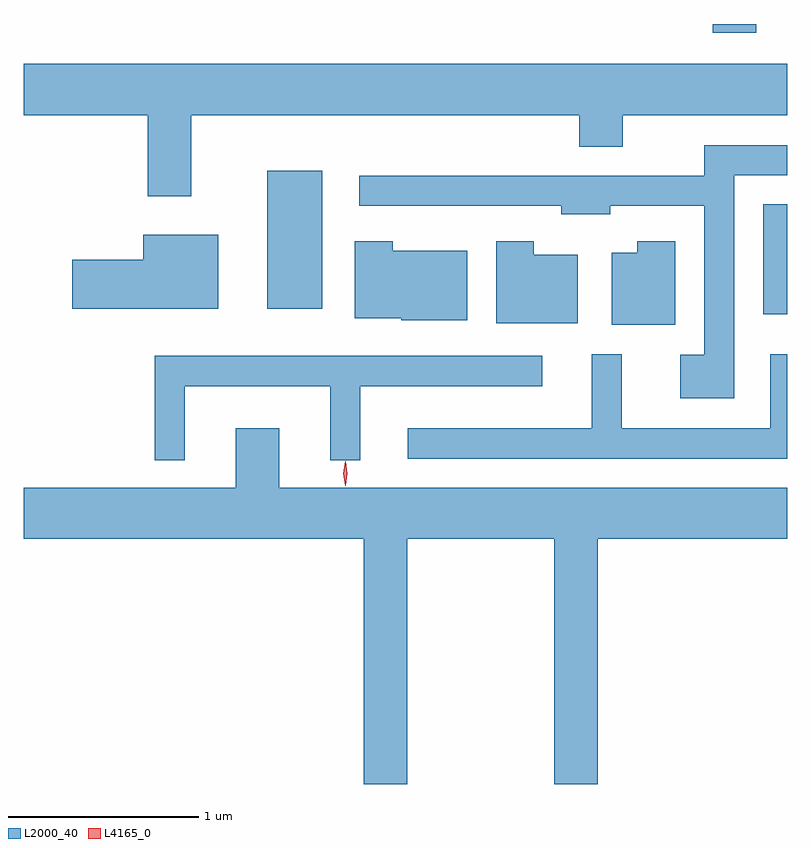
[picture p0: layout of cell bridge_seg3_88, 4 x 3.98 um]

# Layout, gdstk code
import gdstk
lib = gdstk.Library(unit=1e-6, precision=1e-09)
def R(c, l, rs):  # rectangles x0, y0, x1, y1
    for r in rs: c.add(gdstk.rectangle(r[:2], r[2:], *l))
def P(c, l, *ps):  # polygons
    for p in ps: c.add(gdstk.Polygon(p, *l))
L2000_40 = (2000, 40)
L4165_0 = (4165, 0)

bridge_seg3_88 = lib.new_cell('bridge_seg3_88')
R(bridge_seg3_88, L2000_40, [(1122.086,1213.771,1122.211,1214.349), (1119.486,1213.801,1119.774,1214.524), (1121.821,1215.246,1122.049,1215.293)])
P(bridge_seg3_88, L2000_40, [(1119.089,1214.816),(1121.121,1214.816),(1121.121,1214.651),(1121.349,1214.651),(1121.349,1214.816),(1122.211,1214.816),(1122.211,1215.084),(1118.211,1215.084),(1118.211,1214.816),(1118.861,1214.816),(1118.861,1214.391),(1119.089,1214.391)],
  [(1121.934,1214.501),(1122.211,1214.501),(1122.211,1214.659),(1121.776,1214.659),(1121.776,1214.499),(1119.968,1214.499),(1119.968,1214.341),(1121.026,1214.341),(1121.026,1214.296),(1121.284,1214.296),(1121.284,1214.341),(1121.776,1214.341),(1121.776,1213.559),(1121.651,1213.559),(1121.651,1213.331),(1121.934,1213.331)],
  [(1119.229,1214.189),(1118.836,1214.189),(1118.836,1214.059),(1118.466,1214.059),(1118.466,1213.801),(1119.229,1213.801)],
  [(1121.114,1214.084),(1120.884,1214.084),(1120.884,1214.154),(1120.686,1214.154),(1120.686,1213.726),(1121.114,1213.726)],
  [(1121.624,1214.154),(1121.426,1214.154),(1121.426,1214.094),(1121.291,1214.094),(1121.291,1213.716),(1121.624,1213.716)],
  [(1120.534,1214.104),(1120.144,1214.104),(1120.144,1214.154),(1119.946,1214.154),(1119.946,1213.751),(1120.19,1213.751),(1120.19,1213.741),(1120.534,1213.741)],
  [(1122.211,1213.563),(1122.121,1213.563),(1122.121,1213.174),(1121.344,1213.174),(1121.344,1213.563),(1121.186,1213.563),(1121.186,1213.174),(1120.223,1213.174),(1120.223,1213.016),(1122.211,1213.016)],
  [(1119.054,1213.396),(1119.816,1213.396),(1119.816,1213.008),(1119.974,1213.008),(1119.974,1213.396),(1120.928,1213.396),(1120.928,1213.554),(1118.896,1213.554),(1118.896,1213.008),(1119.054,1213.008)],
  [(1120.219,1212.596),(1120.991,1212.596),(1120.991,1211.311),(1121.219,1211.311),(1121.219,1212.596),(1122.211,1212.596),(1122.211,1212.864),(1119.549,1212.864),(1119.549,1213.174),(1119.321,1213.174),(1119.321,1212.864),(1118.211,1212.864),(1118.211,1212.596),(1119.991,1212.596),(1119.991,1211.311),(1120.219,1211.311)])
P(bridge_seg3_88, L4165_0, [(1119.896,1212.873),(1119.896,1212.874),(1119.886,1212.937),(1119.896,1213.001),(1119.896,1213.002),(1119.897,1213.001),(1119.906,1212.937),(1119.897,1212.874)])

lib.write_gds('bridge_seg3_88.gds')
